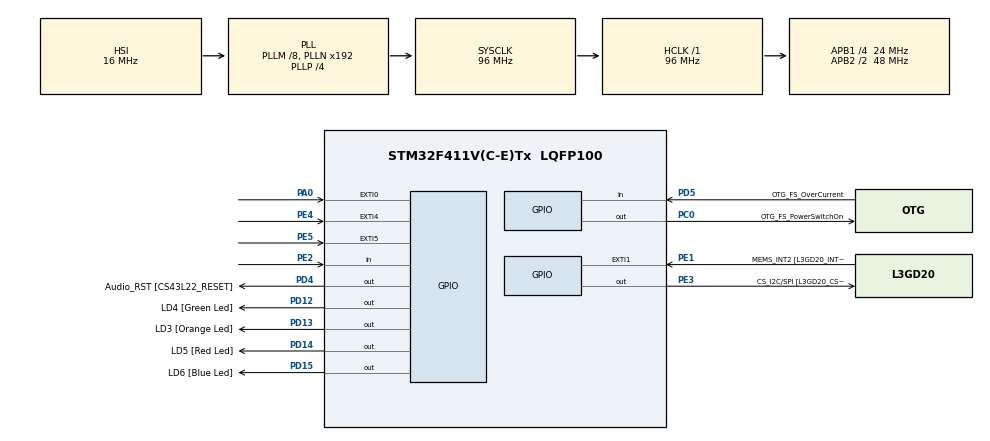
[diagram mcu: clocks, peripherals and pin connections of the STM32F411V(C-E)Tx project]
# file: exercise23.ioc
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FREERTOS.Tasks01=OrangeLED,0,128,StartOrangeLED,Default,NULL,Dynamic,NULL,NULL;GreenLED,0,128,StartGreenLED,Default,NULL,Dynamic,NULL,NULL;DeferredServer,0,128,StartDeferredServer,Default,NULL,Dynamic,NULL,NULL
Mcu.Family=STM32F4
Mcu.Name=STM32F411V(C-E)Tx
Mcu.Package=LQFP100
NVIC.EXTI0_IRQn=true\:5\:0\:false\:false\:true\:true\:true\:true
NVIC.PriorityGroup=NVIC_PRIORITYGROUP_4
NVIC.TIM1_UP_TIM10_IRQn=true\:0\:0\:false\:false\:true\:false\:false\:true
NVIC.TimeBase=TIM1_UP_TIM10_IRQn
NVIC.TimeBaseIP=TIM1
PA0-WKUP.Signal=GPXTI0
PA10.GPIO_Label=OTG_FS_ID
PA10.Signal=USB_OTG_FS_ID
PA11.GPIO_Label=OTG_FS_DM
PA11.Signal=USB_OTG_FS_DM
PA12.GPIO_Label=OTG_FS_DP
PA12.Signal=USB_OTG_FS_DP
PA13.GPIO_Label=SWDIO
PA13.Signal=SYS_JTMS-SWDIO
PA14.GPIO_Label=SWCLK
PA14.Signal=SYS_JTCK-SWCLK
PA4.GPIO_Label=I2S3_WS [CS43L22_LRCK]
PA4.GPIO_Mode=GPIO_MODE_AF_PP
PA4.GPIO_PuPd=GPIO_NOPULL
PA4.GPIO_Speed=GPIO_SPEED_FREQ_LOW
PA4.Signal=I2S3_WS
PA5.GPIO_Label=SPI1_SCK [L3GD20_SC/SPC]
PA5.Signal=SPI1_SCK
PA6.GPIO_Label=SPI1_MISO [L3GD20_AS0/SDO]
PA6.Signal=SPI1_MISO
PA7.GPIO_Label=SPI1_MOSI [L3GD20_SDA/SDI/SDO]
PA7.Signal=SPI1_MOSI
PA9.GPIO_Label=VBUS_FS
PA9.Signal=USB_OTG_FS_VBUS
PB10.GPIO_Label=CLK_IN [MP45DT02_CLK]
PB10.Signal=I2S2_CK
PB12.Signal=I2S2_WS
PB3.GPIO_Label=SWO
PB3.Signal=SYS_JTDO-SWO
PB6.GPIO_Label=Audio_SCL [CS43L22_SCL]
PB6.GPIO_Mode=GPIO_MODE_AF_OD
PB6.GPIO_PuPd=GPIO_NOPULL
PB6.GPIO_Speed=GPIO_SPEED_FREQ_LOW
PB6.Signal=I2C1_SCL
PB9.GPIO_Label=Audio_SDA [CS43L22_SDA]
PB9.GPIO_Mode=GPIO_MODE_AF_OD
PB9.GPIO_PuPd=GPIO_NOPULL
PB9.GPIO_Speed=GPIO_SPEED_FREQ_LOW
PB9.Signal=I2C1_SDA
PC0.GPIO_Label=OTG_FS_PowerSwitchOn
PC0.PinState=GPIO_PIN_SET
PC0.Signal=GPIO_Output
PC10.GPIO_Label=I2S3_SCK [CS43L22_SCLK]
PC10.GPIO_Mode=GPIO_MODE_AF_PP
PC10.GPIO_PuPd=GPIO_NOPULL
PC10.GPIO_Speed=GPIO_SPEED_FREQ_LOW
PC10.Signal=I2S3_CK
PC12.GPIO_Label=I2S3_SD [CS43L22_SDIN]
PC12.GPIO_Mode=GPIO_MODE_AF_PP
PC12.GPIO_PuPd=GPIO_NOPULL
PC12.GPIO_Speed=GPIO_SPEED_FREQ_LOW
PC12.Signal=I2S3_SD
PC14-OSC32_IN.GPIO_Label=PC14-OSC32_IN
PC14-OSC32_IN.Signal=RCC_OSC32_IN
PC15-OSC32_OUT.GPIO_Label=PC15-OSC32_OUT
PC15-OSC32_OUT.Signal=RCC_OSC32_OUT
PC3.GPIO_Label=PDM_OUT [MP45DT02_DOUT]
PC3.Signal=I2S2_SD
PC7.GPIO_Label=I2S3_MCK [CS43L22_MCLK]
PC7.GPIO_Mode=GPIO_MODE_AF_PP
PC7.GPIO_PuPd=GPIO_NOPULL
PC7.GPIO_Speed=GPIO_SPEED_FREQ_LOW
PC7.Signal=I2S3_MCK
PD12.GPIO_Label=LD4 [Green Led]
PD12.GPIO_PuPd=GPIO_NOPULL
PD12.GPIO_Speed=GPIO_SPEED_FREQ_LOW
PD12.Signal=GPIO_Output
PD13.GPIO_Label=LD3 [Orange Led]
PD13.GPIO_PuPd=GPIO_NOPULL
PD13.GPIO_Speed=GPIO_SPEED_FREQ_LOW
PD13.Signal=GPIO_Output
PD14.GPIO_Label=LD5 [Red Led]
PD14.GPIO_PuPd=GPIO_NOPULL
PD14.GPIO_Speed=GPIO_SPEED_FREQ_LOW
PD14.Signal=GPIO_Output
PD15.GPIO_Label=LD6 [Blue Led]
PD15.GPIO_PuPd=GPIO_NOPULL
PD15.GPIO_Speed=GPIO_SPEED_FREQ_LOW
PD15.Signal=GPIO_Output
PD4.GPIO_Label=Audio_RST [CS43L22_RESET]
PD4.Signal=GPIO_Output
PD5.GPIO_Label=OTG_FS_OverCurrent
PD5.Signal=GPIO_Input
PE1.GPIO_Label=MEMS_INT2 [L3GD20_INT2]
PE1.GPIO_ModeDefaultEXTI=GPIO_MODE_EVT_RISING
PE1.Signal=GPXTI1
PE2.Signal=GPIO_Input
PE3.GPIO_Label=CS_I2C/SPI [L3GD20_CS_I2C/SPI]
PE3.Signal=GPIO_Output
PE4.GPIO_ModeDefaultEXTI=GPIO_MODE_EVT_RISING
PE4.Signal=GPXTI4
PE5.GPIO_ModeDefaultEXTI=GPIO_MODE_EVT_RISING
PE5.Signal=GPXTI5
PH0\ -\ OSC_IN.GPIO_Label=PH0-OSC_IN
PH0\ -\ OSC_IN.Signal=RCC_OSC_IN
PH1\ -\ OSC_OUT.GPIO_Label=PH1-OSC_OUT
PH1\ -\ OSC_OUT.Signal=RCC_OSC_OUT
ProjectManager.HeapSize=0x200
ProjectManager.StackSize=0x400
ProjectManager.TargetToolchain=STM32CubeIDE
RCC.48MHZClocksFreq_Value=48000000
RCC.AHBFreq_Value=96000000
RCC.APB1CLKDivider=RCC_HCLK_DIV4
RCC.APB1Freq_Value=24000000
RCC.APB1TimFreq_Value=48000000
RCC.APB2CLKDivider=RCC_HCLK_DIV2
RCC.APB2Freq_Value=48000000
RCC.APB2TimFreq_Value=96000000
RCC.CortexFreq_Value=96000000
RCC.HCLKFreq_Value=96000000
RCC.HSE_VALUE=8000000
RCC.HSI_VALUE=16000000
RCC.LSE_VALUE=32768
RCC.PLLI2SM=5
RCC.PLLI2SN=200
RCC.PLLM=8
RCC.PLLP=RCC_PLLP_DIV4
RCC.PLLQ=8
RCC.SYSCLKFreq_VALUE=96000000
RCC.SYSCLKSource=RCC_SYSCLKSOURCE_PLLCLK
RCC.VCOOutputFreq_Value=384000000
VP_FREERTOS_VS_CMSIS_V1.Mode=CMSIS_V1
VP_SYS_VS_tim1.Mode=TIM1
board=STM32F411E-DISCO

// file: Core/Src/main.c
/* USER CODE BEGIN Header */
/**
  ******************************************************************************
  * @file           : main.c
  * @brief          : Main program body
  ******************************************************************************
  * @attention
  *
  * <h2><center>&copy; Copyright (c) 2021 STMicroelectronics.
  * All rights reserved.</center></h2>
  *
  * This software component is licensed by ST under BSD 3-Clause license,
  * the "License"; You may not use this file except in compliance with the
  * License. You may obtain a copy of the License at:
  *                        opensource.org/licenses/BSD-3-Clause
  *
  ******************************************************************************
  */
/* USER CODE END Header */

#include "main.h"
#include "cmsis_os.h"

/* USER CODE BEGIN Includes */
#include "SyncSema.h"
/* USER CODE END Includes */

/* USER CODE BEGIN PD */
#define RED GPIO_PIN_14
#define GREEN GPIO_PIN_12
#define BLUE GPIO_PIN_15
#define ORANGE GPIO_PIN_13
/* USER CODE END PD */

osThreadId OrangeLEDHandle;
osThreadId GreenLEDHandle;
osThreadId DeferredServerHandle;

void SystemClock_Config(void);
static void MX_GPIO_Init(void);
void StartOrangeLED(void const * argument);
void StartGreenLED(void const * argument);
void StartDeferredServer(void const * argument);

int main(void)
{
  /* USER CODE BEGIN 1 */
	InitEFSema();
  /* USER CODE END 1 */

  /* MCU Configuration--------------------------------------------------------*/

  /* Reset of all peripherals, Initializes the Flash interface and the Systick. */
  HAL_Init();

  /* Configure the system clock */
  SystemClock_Config();

  /* Initialize all configured peripherals */
  MX_GPIO_Init();

  /* Create the thread(s) */
  /* definition and creation of OrangeLED */
  osThreadDef(OrangeLED, StartOrangeLED, osPriorityNormal, 0, 128);
  OrangeLEDHandle = osThreadCreate(osThread(OrangeLED), NULL);

  /* definition and creation of GreenLED */
  osThreadDef(GreenLED, StartGreenLED, osPriorityNormal, 0, 128);
  GreenLEDHandle = osThreadCreate(osThread(GreenLED), NULL);

  /* definition and creation of DeferredServer */
  osThreadDef(DeferredServer, StartDeferredServer, osPriorityNormal, 0, 128);
  DeferredServerHandle = osThreadCreate(osThread(DeferredServer), NULL);

  /* Start scheduler */
  osKernelStart();

  /* We should never get here as control is now taken by the scheduler */

  /* Infinite loop */
  while (1)
  {

  }
}

void SystemClock_Config(void)
{
  RCC_OscInitTypeDef RCC_OscInitStruct = {0};
  RCC_ClkInitTypeDef RCC_ClkInitStruct = {0};

  /** Configure the main internal regulator output voltage
  */
  __HAL_RCC_PWR_CLK_ENABLE();
  __HAL_PWR_VOLTAGESCALING_CONFIG(PWR_REGULATOR_VOLTAGE_SCALE1);
  /** Initializes the CPU, AHB and APB busses clocks
  */
  RCC_OscInitStruct.OscillatorType = RCC_OSCILLATORTYPE_HSI;
  RCC_OscInitStruct.HSIState = RCC_HSI_ON;
  RCC_OscInitStruct.HSICalibrationValue = RCC_HSICALIBRATION_DEFAULT;
  RCC_OscInitStruct.PLL.PLLState = RCC_PLL_ON;
  RCC_OscInitStruct.PLL.PLLSource = RCC_PLLSOURCE_HSI;
  RCC_OscInitStruct.PLL.PLLM = 8;
  RCC_OscInitStruct.PLL.PLLN = 192;
  RCC_OscInitStruct.PLL.PLLP = RCC_PLLP_DIV4;
  RCC_OscInitStruct.PLL.PLLQ = 8;
  if (HAL_RCC_OscConfig(&RCC_OscInitStruct) != HAL_OK)
  {
    Error_Handler();
  }
  /** Initializes the CPU, AHB and APB busses clocks
  */
  RCC_ClkInitStruct.ClockType = RCC_CLOCKTYPE_HCLK|RCC_CLOCKTYPE_SYSCLK
                              |RCC_CLOCKTYPE_PCLK1|RCC_CLOCKTYPE_PCLK2;
  RCC_ClkInitStruct.SYSCLKSource = RCC_SYSCLKSOURCE_PLLCLK;
  RCC_ClkInitStruct.AHBCLKDivider = RCC_SYSCLK_DIV1;
  RCC_ClkInitStruct.APB1CLKDivider = RCC_HCLK_DIV4;
  RCC_ClkInitStruct.APB2CLKDivider = RCC_HCLK_DIV2;

  if (HAL_RCC_ClockConfig(&RCC_ClkInitStruct, FLASH_LATENCY_3) != HAL_OK)
  {
    Error_Handler();
  }
}

static void MX_GPIO_Init(void)
{
  GPIO_InitTypeDef GPIO_InitStruct = {0};

  /* GPIO Ports Clock Enable */
  __HAL_RCC_GPIOE_CLK_ENABLE();
  __HAL_RCC_GPIOC_CLK_ENABLE();
  __HAL_RCC_GPIOH_CLK_ENABLE();
  __HAL_RCC_GPIOA_CLK_ENABLE();
  __HAL_RCC_GPIOB_CLK_ENABLE();
  __HAL_RCC_GPIOD_CLK_ENABLE();

  /*Configure GPIO pin Output Level */
  HAL_GPIO_WritePin(CS_I2C_SPI_GPIO_Port, CS_I2C_SPI_Pin, GPIO_PIN_RESET);

  /*Configure GPIO pin Output Level */
  HAL_GPIO_WritePin(OTG_FS_PowerSwitchOn_GPIO_Port, OTG_FS_PowerSwitchOn_Pin, GPIO_PIN_SET);

  /*Configure GPIO pin Output Level */
  HAL_GPIO_WritePin(GPIOD, LD4_Pin|LD3_Pin|LD5_Pin|LD6_Pin
                          |Audio_RST_Pin, GPIO_PIN_RESET);

  /*Configure GPIO pin : PE2 */
  GPIO_InitStruct.Pin = GPIO_PIN_2;
  GPIO_InitStruct.Mode = GPIO_MODE_INPUT;
  GPIO_InitStruct.Pull = GPIO_NOPULL;
  HAL_GPIO_Init(GPIOE, &GPIO_InitStruct);

  /*Configure GPIO pin : CS_I2C_SPI_Pin */
  GPIO_InitStruct.Pin = CS_I2C_SPI_Pin;
  GPIO_InitStruct.Mode = GPIO_MODE_OUTPUT_PP;
  GPIO_InitStruct.Pull = GPIO_NOPULL;
  GPIO_InitStruct.Speed = GPIO_SPEED_FREQ_LOW;
  HAL_GPIO_Init(CS_I2C_SPI_GPIO_Port, &GPIO_InitStruct);

  /*Configure GPIO pins : PE4 PE5 MEMS_INT2_Pin */
  GPIO_InitStruct.Pin = GPIO_PIN_4|GPIO_PIN_5|MEMS_INT2_Pin;
  GPIO_InitStruct.Mode = GPIO_MODE_EVT_RISING;
  GPIO_InitStruct.Pull = GPIO_NOPULL;
  HAL_GPIO_Init(GPIOE, &GPIO_InitStruct);

  /*Configure GPIO pin : OTG_FS_PowerSwitchOn_Pin */
  GPIO_InitStruct.Pin = OTG_FS_PowerSwitchOn_Pin;
  GPIO_InitStruct.Mode = GPIO_MODE_OUTPUT_PP;
  GPIO_InitStruct.Pull = GPIO_NOPULL;
  GPIO_InitStruct.Speed = GPIO_SPEED_FREQ_LOW;
  HAL_GPIO_Init(OTG_FS_PowerSwitchOn_GPIO_Port, &GPIO_InitStruct);

  /*Configure GPIO pin : PDM_OUT_Pin */
  GPIO_InitStruct.Pin = PDM_OUT_Pin;
  GPIO_InitStruct.Mode = GPIO_MODE_AF_PP;
  GPIO_InitStruct.Pull = GPIO_NOPULL;
  GPIO_InitStruct.Speed = GPIO_SPEED_FREQ_LOW;
  GPIO_InitStruct.Alternate = GPIO_AF5_SPI2;
  HAL_GPIO_Init(PDM_OUT_GPIO_Port, &GPIO_InitStruct);

  /*Configure GPIO pin : PA0 */
  GPIO_InitStruct.Pin = GPIO_PIN_0;
  GPIO_InitStruct.Mode = GPIO_MODE_IT_RISING;
  GPIO_InitStruct.Pull = GPIO_NOPULL;
  HAL_GPIO_Init(GPIOA, &GPIO_InitStruct);

  /*Configure GPIO pin : I2S3_WS_Pin */
  GPIO_InitStruct.Pin = I2S3_WS_Pin;
  GPIO_InitStruct.Mode = GPIO_MODE_AF_PP;
  GPIO_InitStruct.Pull = GPIO_NOPULL;
  GPIO_InitStruct.Speed = GPIO_SPEED_FREQ_LOW;
  GPIO_InitStruct.Alternate = GPIO_AF6_SPI3;
  HAL_GPIO_Init(I2S3_WS_GPIO_Port, &GPIO_InitStruct);

  /*Configure GPIO pins : SPI1_SCK_Pin SPI1_MISO_Pin SPI1_MOSI_Pin */
  GPIO_InitStruct.Pin = SPI1_SCK_Pin|SPI1_MISO_Pin|SPI1_MOSI_Pin;
  GPIO_InitStruct.Mode = GPIO_MODE_AF_PP;
  GPIO_InitStruct.Pull = GPIO_NOPULL;
  GPIO_InitStruct.Speed = GPIO_SPEED_FREQ_VERY_HIGH;
  GPIO_InitStruct.Alternate = GPIO_AF5_SPI1;
  HAL_GPIO_Init(GPIOA, &GPIO_InitStruct);

  /*Configure GPIO pins : CLK_IN_Pin PB12 */
  GPIO_InitStruct.Pin = CLK_IN_Pin|GPIO_PIN_12;
  GPIO_InitStruct.Mode = GPIO_MODE_AF_PP;
  GPIO_InitStruct.Pull = GPIO_NOPULL;
  GPIO_InitStruct.Speed = GPIO_SPEED_FREQ_LOW;
  GPIO_InitStruct.Alternate = GPIO_AF5_SPI2;
  HAL_GPIO_Init(GPIOB, &GPIO_InitStruct);

  /*Configure GPIO pins : LD4_Pin LD3_Pin LD5_Pin LD6_Pin
                           Audio_RST_Pin */
  GPIO_InitStruct.Pin = LD4_Pin|LD3_Pin|LD5_Pin|LD6_Pin
                          |Audio_RST_Pin;
  GPIO_InitStruct.Mode = GPIO_MODE_OUTPUT_PP;
  GPIO_InitStruct.Pull = GPIO_NOPULL;
  GPIO_InitStruct.Speed = GPIO_SPEED_FREQ_LOW;
  HAL_GPIO_Init(GPIOD, &GPIO_InitStruct);

  /*Configure GPIO pins : I2S3_MCK_Pin I2S3_SCK_Pin I2S3_SD_Pin */
  GPIO_InitStruct.Pin = I2S3_MCK_Pin|I2S3_SCK_Pin|I2S3_SD_Pin;
  GPIO_InitStruct.Mode = GPIO_MODE_AF_PP;
  GPIO_InitStruct.Pull = GPIO_NOPULL;
  GPIO_InitStruct.Speed = GPIO_SPEED_FREQ_LOW;
  GPIO_InitStruct.Alternate = GPIO_AF6_SPI3;
  HAL_GPIO_Init(GPIOC, &GPIO_InitStruct);

  /*Configure GPIO pin : VBUS_FS_Pin */
  GPIO_InitStruct.Pin = VBUS_FS_Pin;
  GPIO_InitStruct.Mode = GPIO_MODE_INPUT;
  GPIO_InitStruct.Pull = GPIO_NOPULL;
  HAL_GPIO_Init(VBUS_FS_GPIO_Port, &GPIO_InitStruct);

  /*Configure GPIO pins : OTG_FS_ID_Pin OTG_FS_DM_Pin OTG_FS_DP_Pin */
  GPIO_InitStruct.Pin = OTG_FS_ID_Pin|OTG_FS_DM_Pin|OTG_FS_DP_Pin;
  GPIO_InitStruct.Mode = GPIO_MODE_AF_PP;
  GPIO_InitStruct.Pull = GPIO_NOPULL;
  GPIO_InitStruct.Speed = GPIO_SPEED_FREQ_VERY_HIGH;
  GPIO_InitStruct.Alternate = GPIO_AF10_OTG_FS;
  HAL_GPIO_Init(GPIOA, &GPIO_InitStruct);

  /*Configure GPIO pin : OTG_FS_OverCurrent_Pin */
  GPIO_InitStruct.Pin = OTG_FS_OverCurrent_Pin;
  GPIO_InitStruct.Mode = GPIO_MODE_INPUT;
  GPIO_InitStruct.Pull = GPIO_NOPULL;
  HAL_GPIO_Init(OTG_FS_OverCurrent_GPIO_Port, &GPIO_InitStruct);

  /*Configure GPIO pins : Audio_SCL_Pin Audio_SDA_Pin */
  GPIO_InitStruct.Pin = Audio_SCL_Pin|Audio_SDA_Pin;
  GPIO_InitStruct.Mode = GPIO_MODE_AF_OD;
  GPIO_InitStruct.Pull = GPIO_PULLUP;
  GPIO_InitStruct.Speed = GPIO_SPEED_FREQ_LOW;
  GPIO_InitStruct.Alternate = GPIO_AF4_I2C1;
  HAL_GPIO_Init(GPIOB, &GPIO_InitStruct);

  /* EXTI interrupt init*/
  HAL_NVIC_SetPriority(EXTI0_IRQn, 5, 0);
  HAL_NVIC_EnableIRQ(EXTI0_IRQn);

}

void StartOrangeLED(void const * argument)
{
  /* USER CODE BEGIN 5 */
  /* Infinite loop */
  for(;;)
  {
	  HAL_GPIO_WritePin(GPIOD, ORANGE, GPIO_PIN_SET);
	  osDelay(500);
	  HAL_GPIO_WritePin(GPIOD, ORANGE, GPIO_PIN_RESET);
	  osDelay(1500);
  }
  /* USER CODE END 5 */
}

void StartGreenLED(void const * argument)
{
  /* USER CODE BEGIN StartGreenLED */
	osDelay(700);
  /* Infinite loop */
  for(;;){
	  HAL_GPIO_WritePin(GPIOD, GREEN, GPIO_PIN_SET);
	  osDelay(500);
	  HAL_GPIO_WritePin(GPIOD, GREEN, GPIO_PIN_RESET);
	  osDelay(3500);
  }
  /* USER CODE END StartGreenLED */
}

void StartDeferredServer(void const * argument)
{
  /* USER CODE BEGIN StartDeferredServer */
  /* Infinite loop */
  for(;;)
  {
    WaitEFSema();

    for(int i = 0; i < 2*4*10; i++){
    	HAL_GPIO_TogglePin(GPIOD, BLUE);
    	osDelay(50);
    }
    HAL_GPIO_WritePin(GPIOD, RED, GPIO_PIN_RESET);
  }
  /* USER CODE END StartDeferredServer */
}

void HAL_TIM_PeriodElapsedCallback(TIM_HandleTypeDef *htim)
{
  if (htim->Instance == TIM1) {
    HAL_IncTick();
  }
}

void Error_Handler(void)
{
}

/************************ (C) COPYRIGHT STMicroelectronics *****END OF FILE****/
